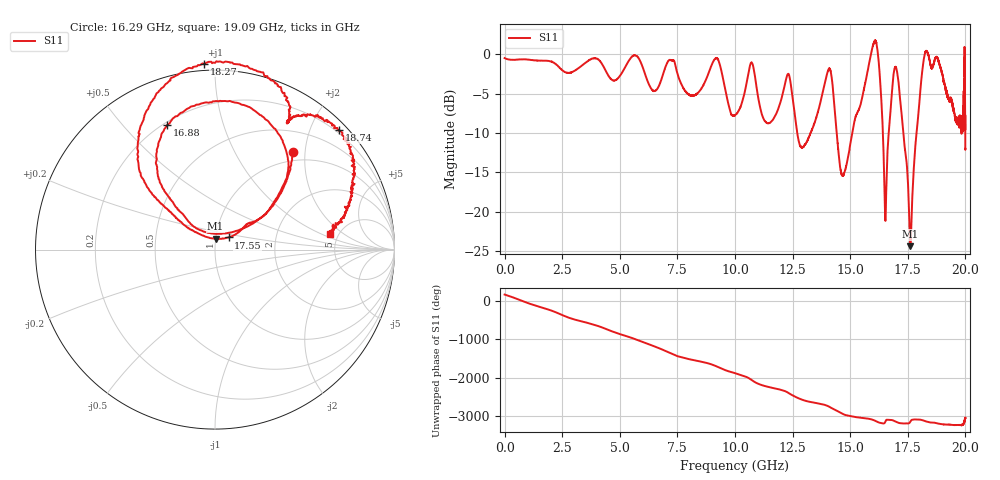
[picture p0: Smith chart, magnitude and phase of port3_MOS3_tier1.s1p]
! Created with skrf 1.8.0 (http://scikit-rf.org).
# GHz S RI R 50.0
!freq ReS11 ImS11
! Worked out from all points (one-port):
!   10001 points, 1 MHz to 20 GHz, reference 50 ohm
!   lowest |S11| = -24.3 dB at 17.61 GHz (marker M1), VSWR 1.13, Z = 49.9 + j6.07 ohm
!   |S11| at or under -10 dB: 12.7 GHz to 13.28 GHz (579.9 MHz wide, 4.46 % of centre); 14.42 GHz to 15.09 GHz (673.4 MHz wide, 4.56 % of centre); 17.31 GHz to 17.88 GHz (566.7 MHz wide, 3.22 % of centre) (the widest 3 of 7)
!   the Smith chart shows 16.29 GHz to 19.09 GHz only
!   S11 on the Smith chart (normalised r, x): 16.29 GHz: 0.84, +1.77; 16.88 GHz: 0.21, +0.67; 17.55 GHz: 1.15, +0.16; 18.27 GHz: -0.04, +0.94; 18.74 GHz: 0.14, +2.47; 19.09 GHz: 4.23, +1.27
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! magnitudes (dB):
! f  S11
! 1 MHz  -0.5
! 2.501 GHz  -2.0
! 5.001 GHz  -2.8
! 5.639 GHz  -0.2
! 7.501 GHz  -2.5
! 8.229 GHz  -5.2
! 9.215 GHz  -0.5
! 10 GHz  -7.8
! 10.71 GHz  -1.1
! 11.35 GHz  -8.7
! 12.28 GHz  -2.6
! 12.5 GHz  -5.6
! 12.97 GHz  -11.7
! 14.1 GHz  -1.8
! 14.62 GHz  -15.2
! 15 GHz  -11.4
! 16.02 GHz  1.4
! 16.29 GHz  -3.2
! 16.54 GHz  -20.7
! 16.88 GHz  -2.6
! 17.08 GHz  -3.0
! 17.5 GHz  -15.9
! 17.55 GHz  -19.9
! 17.61 GHz  -24.3
! 18.27 GHz  0.3
! 18.74 GHz  -0.3
! 19.09 GHz  -3.8
! 20 GHz  -12.0
